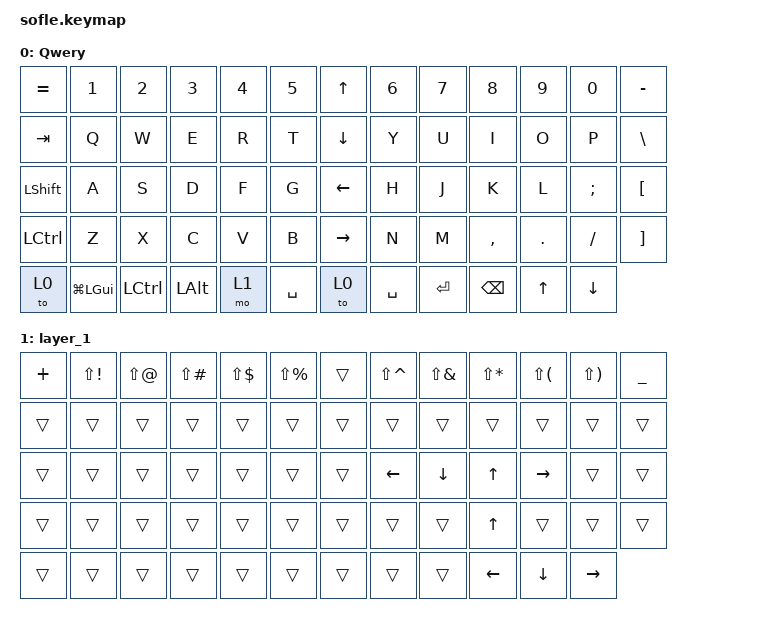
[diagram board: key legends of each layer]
#define ZMK_MOUSE_DEFAULT_SCRL_VAL 35 // 10

#include <behaviors/mouse_keys.dtsi>
#include <behaviors.dtsi>
#include <dt-bindings/zmk/keys.h>

/ {
    macros {
        flash_macro: flash_macro {
            compatible = "zmk,behavior-macro";
            #binding-cells = <0>;
            bindings = <&bootloader>;
        };
    };

    combos { compatible = "zmk,combos"; };

    keymap {
        compatible = "zmk,keymap";

        Qwery {
            bindings = <
&kp EQUAL       &kp N1        &kp N2     &kp N3    &kp N4  &kp N5       &kp UP_ARROW     &kp N6     &kp N7     &kp N8         &kp N9   &kp N0    &kp MINUS
&kp TAB         &kp Q         &kp W      &kp E     &kp R   &kp T        &kp DOWN_ARROW   &kp Y      &kp U      &kp I          &kp O    &kp P     &kp BACKSLASH
&kp LEFT_SHIFT  &kp A         &kp S      &kp D     &kp F   &kp G        &kp LEFT_ARROW   &kp H      &kp J      &kp K          &kp L    &kp SEMI  &kp LEFT_BRACKET
&kp LCTRL       &kp Z         &kp X      &kp C     &kp V   &kp B        &kp RIGHT_ARROW  &kp N      &kp M      &kp COMMA      &kp DOT  &kp FSLH  &kp RBKT
&to 0           &kp LG(LGUI)  &kp LCTRL  &kp LALT  &mo 1   &kp SPACE    &to 0            &kp SPACE  &kp ENTER  &kp BACKSPACE  &kp UP   &kp DOWN
            >;

            display-name = "Qwery";
        };

        layer_1 {
            bindings = <
&kp PLUS  &kp LS(EXCL)  &kp LS(AT)  &kp LS(POUND)  &kp LS(DLLR)  &kp LS(PRCNT)    &trans  &kp LS(CARET)  &kp LS(AMPS)  &kp LS(STAR)  &kp LS(LPAR)  &kp LS(RPAR)  &kp UNDER
&trans    &trans        &trans      &trans         &trans        &trans           &trans  &trans         &trans        &trans        &trans        &trans        &trans
&trans    &trans        &trans      &trans         &trans        &trans           &trans  &kp LEFT       &kp DOWN      &kp UP        &kp RIGHT     &trans        &trans
&trans    &trans        &trans      &trans         &trans        &trans           &trans  &trans         &trans        &kp UP        &trans        &trans        &trans
&trans    &trans        &trans      &trans         &trans        &trans           &trans  &trans         &trans        &kp LEFT      &kp DOWN      &kp RIGHT
            >;
        };
    };

    conditional_layers {
        compatible = "zmk,conditional-layers";

        Flash {
            if-layers = <1 3>;
            then-layer = <4>;
        };
    };
};
